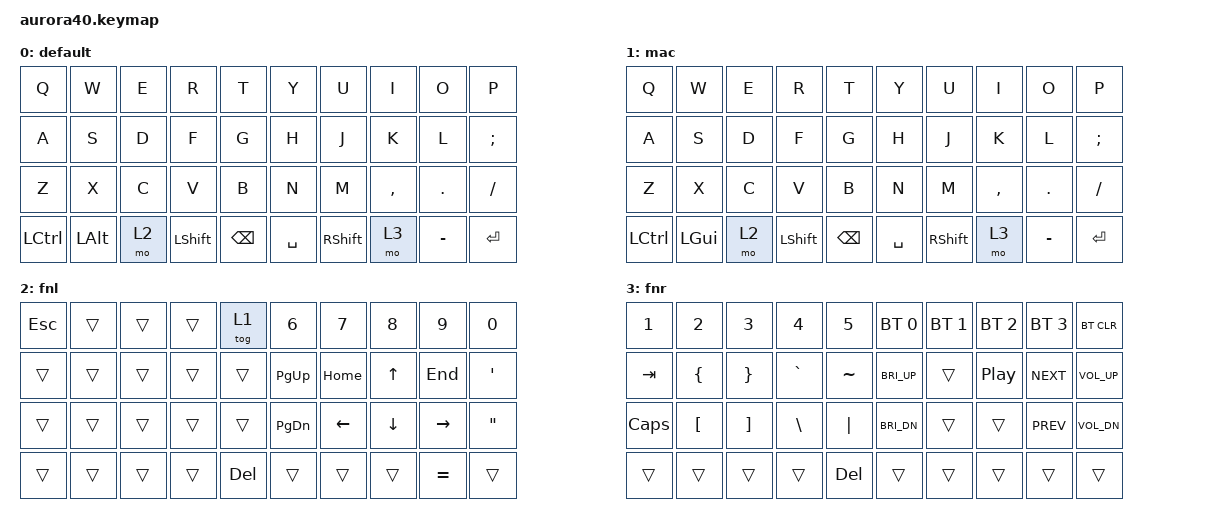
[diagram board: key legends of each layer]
#include <behaviors.dtsi>
#include <dt-bindings/zmk/keys.h>
#include <dt-bindings/zmk/bt.h>        // bluetooth

/* Layers */
#define default 0
#define mac 1
#define fnl 2
#define fnr 3


/ { 
    //      ----------------------    ----------------------
    //      | 00  01  02  03  04 |    | 05  06  07  08  09 |
    //      | 10  11  12  13  14 |    | 15  16  17  18  19 |
    //      | 20  21  22  23  24 |    | 25  26  27  28  29 |
    //      | 30  31  32  33  34 |    | 35  36  37  38  39 |
    //      ----------------------    ----------------------
    

    keymap {
        compatible = "zmk,keymap";

        // Layer 0
        default { 
            bindings = <
                &kp Q       &kp W       &kp E       &kp R       &kp T               &kp Y        &kp U       &kp I       &kp O       &kp P
                &kp A       &kp S       &kp D       &kp F       &kp G               &kp H        &kp J       &kp K       &kp L       &kp SEMI
                &kp Z       &kp X       &kp C       &kp V       &kp B               &kp N        &kp M       &kp COMMA   &kp DOT     &kp FSLH
                &kp LCTRL   &kp LALT    &mo 2       &kp LSHFT   &kp BSPC            &kp SPACE    &kp RSHFT   &mo 3       &kp MINUS   &kp ENTER
            >;
        };

        // Layer 1
        mac { 
            bindings = <
                &kp Q       &kp W       &kp E       &kp R       &kp T               &kp Y        &kp U       &kp I       &kp O       &kp P
                &kp A       &kp S       &kp D       &kp F       &kp G               &kp H        &kp J       &kp K       &kp L       &kp SEMI
                &kp Z       &kp X       &kp C       &kp V       &kp B               &kp N        &kp M       &kp COMMA   &kp DOT     &kp FSLH
                &kp LCTRL   &kp LGUI    &mo 2       &kp LSHFT   &kp BSPC            &kp SPACE    &kp RSHFT   &mo 3       &kp MINUS   &kp ENTER
            >;
        };
        
        // Layer 2
        fnl {
            bindings = <
                &kp ESC     &trans      &trans      &trans     &tog 1               &kp N6       &kp N7      &kp N8      &kp N9      &kp N0
                &trans      &trans      &trans      &trans     &trans               &kp PG_UP    &kp HOME    &kp UP      &kp END     &kp APOS
                &trans      &trans      &trans      &trans     &trans               &kp PG_DN    &kp LEFT    &kp DOWN    &kp RIGHT   &kp DQT
                &trans      &trans      &trans      &trans     &kp DEL              &trans       &trans      &trans      &kp EQUAL   &trans
            >;
        };

        // Layer 3
        fnr {
            bindings = <
                &kp N1      &kp N2      &kp N3      &kp N4      &kp N5               &bt BT_SEL 0  &bt BT_SEL 1  &bt BT_SEL 2  &bt BT_SEL 3 &bt BT_CLR
                &kp TAB     &kp LBRC    &kp RBRC    &kp GRAVE   &kp TILDE            &kp C_BRI_UP  &trans        &kp C_PP      &kp C_NEXT   &kp C_VOL_UP
                &kp CAPS    &kp LBKT    &kp RBKT    &kp BSLH    &kp PIPE             &kp C_BRI_DN  &trans        &trans        &kp C_PREV   &kp C_VOL_DN
                &trans      &trans      &trans      &trans      &kp DEL              &trans        &trans        &trans        &trans       &trans
            >;
        };
    };
};
